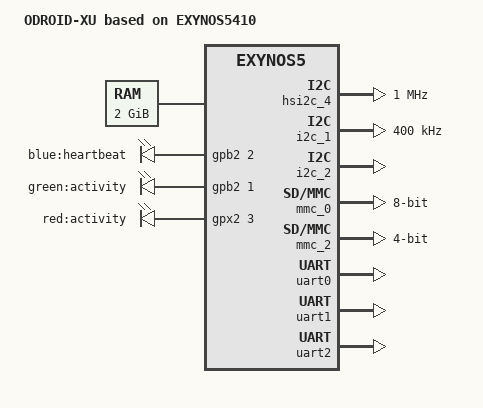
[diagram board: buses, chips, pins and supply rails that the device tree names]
/*
 * Hardkernel ODROID-XU device tree source
 *
 * Copyright (c) 2014 SUSE LINUX Products GmbH
 *
 * Based on exynos5410-smdk5410.dts:
 *
 * Copyright (c) 2013 Samsung Electronics Co., Ltd.
 *		http://www.samsung.com
 *
 * This program is free software; you can redistribute it and/or modify
 * it under the terms of the GNU General Public License version 2 as
 * published by the Free Software Foundation.
*/

/dts-v1/;
#include "exynos5410.dtsi"
#include <dt-bindings/gpio/gpio.h>
/ {
	model = "ODROID-XU based on EXYNOS5410";
	compatible = "hardkernel,odroid-xu", "samsung,exynos5410", "samsung,exynos5";

	memory {
		reg = <0x40000000 0x80000000>;
	};

	chosen {
		bootargs = "console=ttySAC2,115200";
	};

	fin_pll: xxti {
		compatible = "fixed-clock";
		clock-frequency = <24000000>;
		clock-output-names = "fin_pll";
		#clock-cells = <0>;
	};

	firmware@02037000 {
		compatible = "samsung,secure-firmware";
		reg = <0x02037000 0x1000>;
	};

	leds {
		compatible = "gpio-leds";

		blue {
			label = "blue:heartbeat";
			gpios = <&gpb2 2 GPIO_ACTIVE_HIGH>;
			default-state = "off";
			linux,default-trigger = "heartbeat";
		};

		green {
			label = "green:activity";
			gpios = <&gpb2 1 GPIO_ACTIVE_HIGH>;
			default-state = "off";
			linux,default-trigger = "mmc0";
		};

		red {
			label = "red:activity";
			gpios = <&gpx2 3 GPIO_ACTIVE_HIGH>;
			default-state = "off";
			linux,default-trigger = "mmc1";
		};
	};
};

&hsi2c_4 {
	status = "okay";
	samsung,hs-mode;
	clock-frequency = <1000000>;
};

&i2c_1 {
	status = "okay";
	clock-frequency = <400000>;
};

&i2c_2 {
	status = "okay";
	samsung,i2c-sda-delay = <100>;
	samsung,i2c-max-bus-freq = <66000>;
	samsung,i2c-slave-addr = <0x50>;
};

&mmc_0 {
	status = "okay";
	num-slots = <1>;
	cap-mmc-highspeed;
	broken-cd;
	card-detect-delay = <200>;
	samsung,dw-mshc-ciu-div = <3>;
	samsung,dw-mshc-sdr-timing = <2 3>;
	samsung,dw-mshc-ddr-timing = <1 2>;
	bus-width = <8>;
};

&mmc_2 {
	status = "okay";
	num-slots = <1>;
	cap-sd-highspeed;
	card-detect-delay = <200>;
	samsung,dw-mshc-ciu-div = <3>;
	samsung,dw-mshc-sdr-timing = <2 3>;
	samsung,dw-mshc-ddr-timing = <1 2>;
	bus-width = <4>;
	disable-wp;
};

&uart0 {
	status = "okay";
};

&uart1 {
	status = "okay";
};

&uart2 {
	status = "okay";
};
